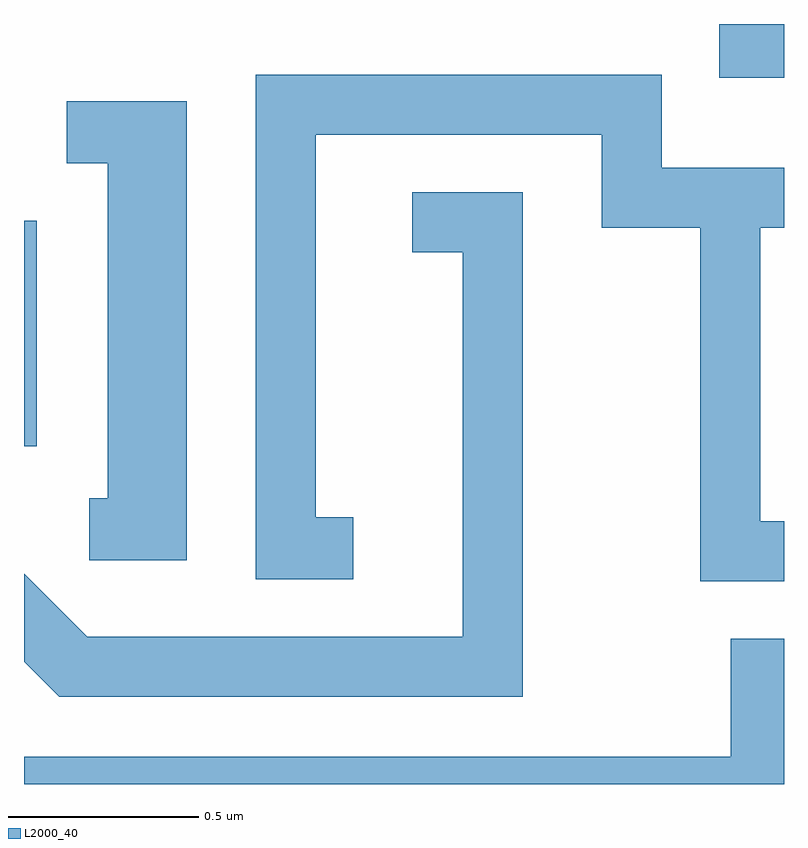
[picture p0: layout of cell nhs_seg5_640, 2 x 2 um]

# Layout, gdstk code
import gdstk
lib = gdstk.Library(unit=1e-6, precision=1e-09)
def R(c, l, rs):  # rectangles x0, y0, x1, y1
    for r in rs: c.add(gdstk.rectangle(r[:2], r[2:], *l))
def P(c, l, *ps):  # polygons
    for p in ps: c.add(gdstk.Polygon(p, *l))
L2000_40 = (2000, 40)

nhs_seg5_640 = lib.new_cell('nhs_seg5_640')
R(nhs_seg5_640, L2000_40, [(189.611,1488.961,189.644,1489.554), (191.441,1489.931,191.611,1490.072)])
P(nhs_seg5_640, L2000_40, [(191.611,1488.764),(191.549,1488.764),(191.549,1489.536),(191.611,1489.536),(191.611,1489.694),(191.289,1489.694),(191.289,1489.939),(190.221,1489.939),(190.221,1488.611),(190.478,1488.611),(190.478,1488.774),(190.379,1488.774),(190.379,1489.781),(191.131,1489.781),(191.131,1489.536),(191.391,1489.536),(191.391,1488.606),(191.611,1488.606)],
  [(190.039,1489.869),(189.723,1489.869),(189.723,1489.706),(189.831,1489.706),(189.831,1488.824),(189.783,1488.824),(189.783,1488.661),(190.039,1488.661)],
  [(190.924,1489.629),(190.633,1489.629),(190.633,1489.471),(190.766,1489.471),(190.766,1488.459),(189.777,1488.459),(189.611,1488.625),(189.611,1488.394),(189.704,1488.301),(190.924,1488.301)],
  [(191.611,1488.454),(191.471,1488.454),(191.471,1488.144),(189.611,1488.144),(189.611,1488.072),(191.611,1488.072)])

lib.write_gds('nhs_seg5_640.gds')
